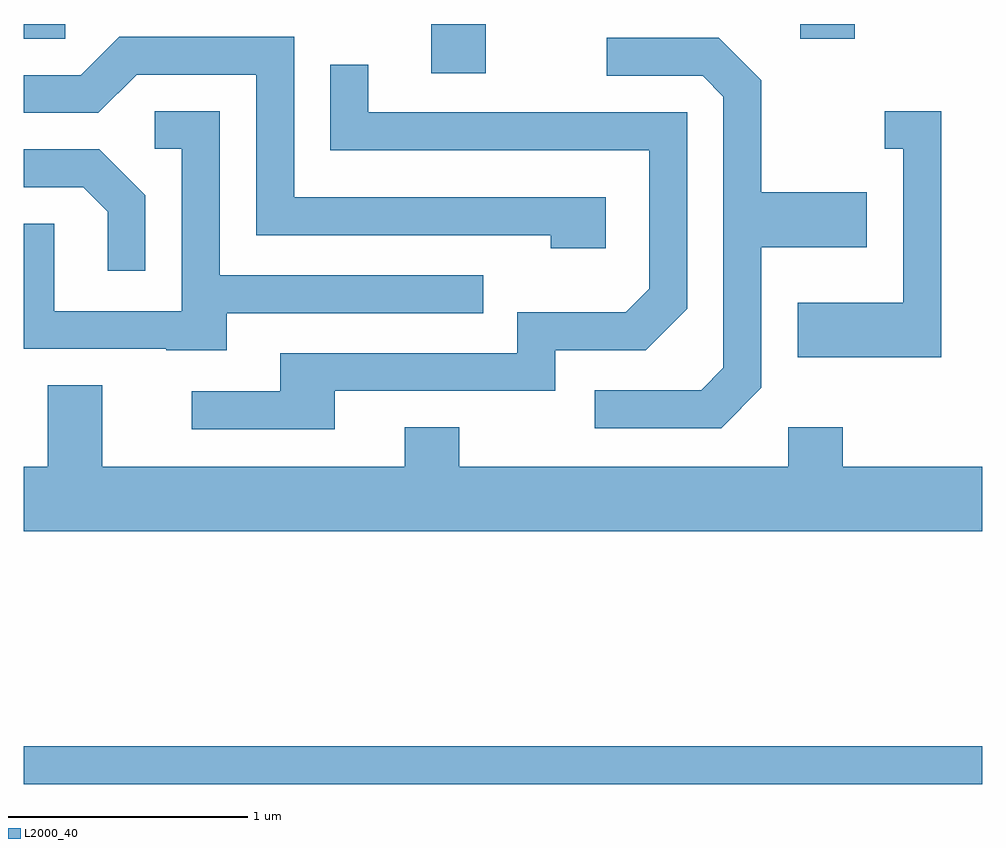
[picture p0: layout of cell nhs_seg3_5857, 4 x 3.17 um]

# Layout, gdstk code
import gdstk
lib = gdstk.Library(unit=1e-6, precision=1e-09)
def R(c, l, rs):  # rectangles x0, y0, x1, y1
    for r in rs: c.add(gdstk.rectangle(r[:2], r[2:], *l))
def P(c, l, *ps):  # polygons
    for p in ps: c.add(gdstk.Polygon(p, *l))
L2000_40 = (2000, 40)

nhs_seg3_5857 = lib.new_cell('nhs_seg3_5857')
R(nhs_seg3_5857, L2000_40, [(357.611,1142.721,361.611,1142.879), (359.311,1145.686,359.539,1145.892), (357.611,1145.831,357.784,1145.892), (360.851,1145.831,361.079,1145.892)])
P(nhs_seg3_5857, L2000_40, [(360.039,1145.169),(358.739,1145.169),(358.739,1145.839),(358.009,1145.839),(357.849,1145.679),(357.611,1145.679),(357.611,1145.521),(357.922,1145.521),(358.082,1145.681),(358.581,1145.681),(358.581,1145.011),(359.811,1145.011),(359.811,1144.956),(360.039,1144.956)],
  [(360.689,1144.374),(360.689,1144.961),(361.129,1144.961),(361.129,1145.189),(360.689,1145.189),(360.689,1145.657),(360.512,1145.834),(360.043,1145.834),(360.043,1145.676),(360.444,1145.676),(360.531,1145.589),(360.531,1144.457),(360.439,1144.364),(359.993,1144.364),(359.993,1144.206),(360.522,1144.206)],
  [(358.909,1144.361),(359.829,1144.361),(359.829,1144.531),(360.207,1144.531),(360.379,1144.704),(360.379,1145.524),(359.049,1145.524),(359.049,1145.723),(358.891,1145.723),(358.891,1145.366),(360.221,1145.366),(360.221,1144.787),(360.124,1144.689),(359.671,1144.689),(359.671,1144.519),(358.681,1144.519),(358.681,1144.359),(358.313,1144.359),(358.313,1144.201),(358.909,1144.201)],
  [(361.439,1145.529),(361.203,1145.529),(361.203,1145.371),(361.281,1145.371),(361.281,1144.729),(360.841,1144.729),(360.841,1144.501),(361.439,1144.501)],
  [(358.459,1144.686),(359.528,1144.686),(359.528,1144.844),(358.429,1144.844),(358.429,1145.529),(358.158,1145.529),(358.158,1145.371),(358.271,1145.371),(358.271,1144.694),(357.739,1144.694),(357.739,1145.059),(357.611,1145.059),(357.611,1144.536),(358.205,1144.536),(358.205,1144.531),(358.459,1144.531)],
  [(358.119,1145.177),(357.927,1145.369),(357.611,1145.369),(357.611,1145.211),(357.859,1145.211),(357.961,1145.109),(357.961,1144.863),(358.119,1144.863)],
  [(361.611,1144.044),(361.029,1144.044),(361.029,1144.209),(360.801,1144.209),(360.801,1144.044),(359.429,1144.044),(359.429,1144.209),(359.201,1144.209),(359.201,1144.044),(357.939,1144.044),(357.939,1144.384),(357.711,1144.384),(357.711,1144.044),(357.611,1144.044),(357.611,1143.776),(361.611,1143.776)])

lib.write_gds('nhs_seg3_5857.gds')
